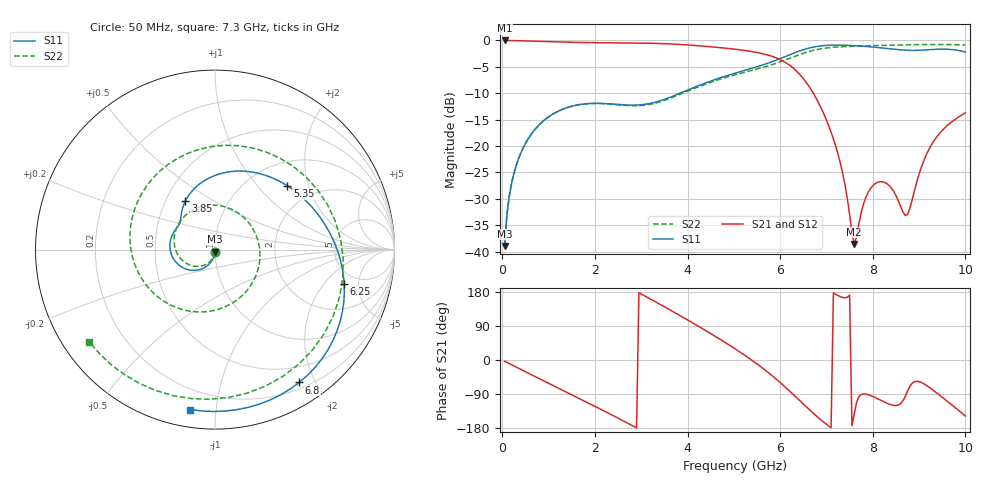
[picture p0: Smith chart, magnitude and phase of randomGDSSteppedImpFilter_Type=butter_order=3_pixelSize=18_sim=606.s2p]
! freq	dB(S11)	phase(S11)	dB(S12)	phase(S12)
!  dB(S21)	phase(S21)	dB(S22)	phase(S22)
!S-par simulation data
#  GHz  S  DB  R 50
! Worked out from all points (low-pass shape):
!   200 points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, 50 MHz to 10 GHz, reference 50 ohm
!   highest |S21| = -0.02 dB at 50 MHz (marker M1); lowest = -38.5 dB at 7.6 GHz (marker M2)
!   |S21| within 3 dB of the highest: start of sweep to 5.825 GHz
!   lowest |S11| = -38.9 dB at 50 MHz (marker M3), VSWR 1.02, Z = 50.1 - j1.13 ohm
!   |S11| at or under -10 dB: start of sweep to 3.841 GHz
!   |S22| runs from -39.0 to -0.8 dB; largest |S21 - S12| = 0
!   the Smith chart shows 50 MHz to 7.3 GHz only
!   S11 on the Smith chart (normalised r, x): 50 MHz: 1.00, -0.02; 3.85 GHz: 0.63, +0.38; 5.35 GHz: 1.48, +1.47; 6.25 GHz: 3.90, -3.31; 6.8 GHz: 0.28, -1.79; 7.3 GHz: 0.09, -0.85
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0.05  -38.95 -85.3  -0.02 -3.2  -0.02 -3.2  -38.98 -86.0
0.2  -27.10 -99.4  -0.04 -12.5  -0.04 -12.5  -27.14 -102.3
0.5  -19.51 -117.2  -0.10 -31.0  -0.10 -31.0  -19.55 -124.7
1.75  -12.06 -179.4  -0.41 -107.0  -0.41 -107.0  -12.09 144.3
2.65  -12.23 150.2  -0.47 -163.0  -0.47 -163.0  -12.32 62.9
3.4  -11.47 135.1  -0.59 147.4  -0.59 147.4  -11.66 -21.3
3.85  -9.97 121.2  -0.78 116.4  -0.78 116.4  -10.17 -69.5
4.45  -7.86 93.2  -1.17 73.4  -1.17 73.4  -8.10 -127.4
5.05  -6.16 59.1  -1.70 27.7  -1.70 27.7  -6.47 175.0
5.35  -5.39 41.4  -2.06 2.8  -2.06 2.8  -5.78 142.6
5.85  -3.97 11.5  -3.09 -43.7  -3.09 -43.7  -4.54 77.4
6.25  -2.57 -14.7  -5.01 -87.1  -5.01 -87.1  -3.25 13.4
6.7  -1.30 -49.4  -9.78 -138.8  -9.78 -138.8  -1.93 -61.7
6.8  -1.14 -57.6  -11.33 -149.7  -11.33 -149.7  -1.73 -77.2
7.3  -0.90 -98.7  -23.27 167.1  -23.27 167.1  -1.22 -143.7
7.6  -1.00 -124.3  -38.54 -142.3  -38.54 -142.3  -1.11 -175.9
7.9  -1.18 -152.4  -28.79 -91.5  -28.79 -91.5  -1.03 156.0
8.35  -1.58 155.1  -27.45 -116.3  -27.45 -116.3  -0.93 119.3
8.8  -1.89 81.5  -31.86 -69.7  -31.86 -69.7  -0.83 87.3
9.2  -1.77 3.9  -20.86 -70.3  -20.86 -70.3  -0.79 62.1
9.6  -1.67 -66.5  -16.20 -108.1  -16.20 -108.1  -0.79 39.6
10  -2.22 -132.2  -13.71 -147.9  -13.71 -147.9  -0.85 19.7
